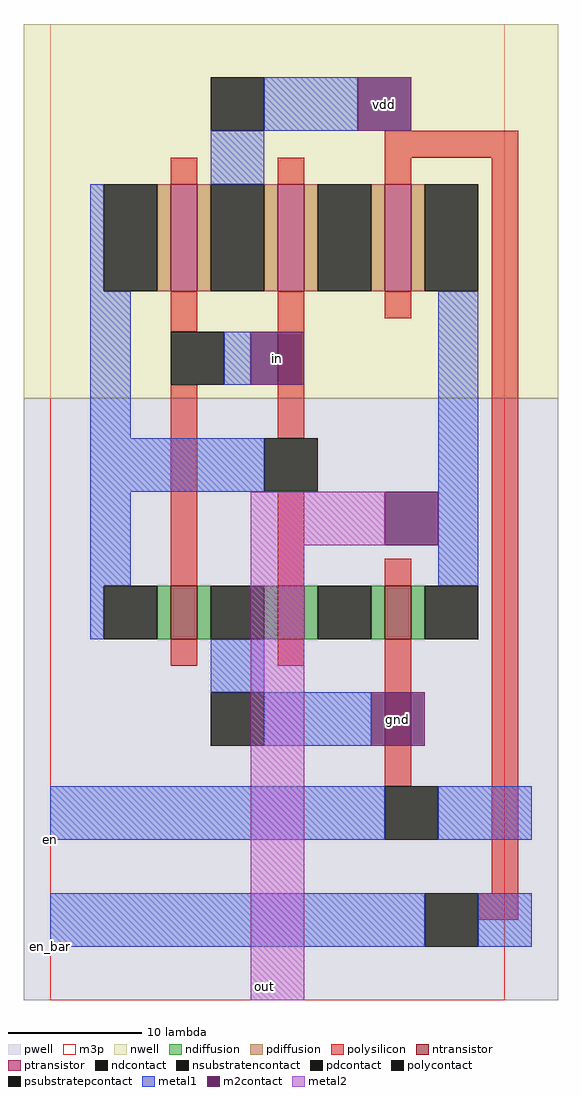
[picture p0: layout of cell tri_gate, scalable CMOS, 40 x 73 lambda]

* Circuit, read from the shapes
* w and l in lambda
.subckt tri_gate en en_bar gnd in out vdd
M1 gnd in n1 gnd nfet w=4 l=2
M2 n2 n1 gnd gnd nfet w=4 l=2
M3 out en n2 gnd nfet w=4 l=2
M4 vdd in n1 vdd pfet w=8 l=2
M5 n3 n1 vdd vdd pfet w=8 l=2
M6 out en_bar n3 vdd pfet w=8 l=2
.ends

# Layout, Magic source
magic
tech scmos
<< nwell >>
rect -2 45 38 73
<< pwell >>
rect -2 0 38 45
<< ntransistor >>
rect 9 27 11 31
rect 17 27 19 31
rect 25 27 27 31
<< ptransistor >>
rect 9 53 11 61
rect 17 53 19 61
rect 25 53 27 61
<< ndiffusion >>
rect 8 27 9 31
rect 11 27 12 31
rect 16 27 17 31
rect 19 27 20 31
rect 24 27 25 31
rect 27 27 28 31
<< pdiffusion >>
rect 8 53 9 61
rect 11 53 12 61
rect 16 53 17 61
rect 19 53 20 61
rect 24 53 25 61
rect 27 53 28 61
<< ndcontact >>
rect 4 27 8 31
rect 12 27 16 31
rect 20 27 24 31
rect 28 27 32 31
<< pdcontact >>
rect 4 53 8 61
rect 12 53 16 61
rect 20 53 24 61
rect 28 53 32 61
<< psubstratepcontact >>
rect 12 19 16 23
<< nsubstratencontact >>
rect 12 65 16 69
<< polysilicon >>
rect 25 63 35 65
rect 9 61 11 63
rect 17 61 19 63
rect 25 61 27 63
rect 9 50 11 53
rect 9 31 11 46
rect 17 42 19 53
rect 25 51 27 53
rect 17 31 19 38
rect 25 31 27 33
rect 9 25 11 27
rect 17 25 19 27
rect 25 16 27 27
rect 33 8 35 63
rect 32 6 35 8
<< polycontact >>
rect 9 46 13 50
rect 16 38 20 42
rect 25 12 29 16
rect 28 4 32 8
<< metal1 >>
rect 16 65 23 69
rect 12 61 16 65
rect 3 53 4 61
rect 3 42 6 53
rect 13 46 15 50
rect 3 38 16 42
rect 3 31 6 38
rect 29 31 32 53
rect 3 27 4 31
rect 12 23 16 27
rect 16 19 24 23
rect 0 12 25 16
rect 29 12 36 16
rect 0 4 28 8
rect 32 4 36 8
<< m2contact >>
rect 23 65 27 69
rect 15 46 19 50
rect 25 34 29 38
rect 24 19 28 23
<< metal2 >>
rect 15 34 25 38
rect 15 0 19 34
<< m3p >>
rect 0 0 34 73
<< labels >>
rlabel metal1 0 12 0 12 3 en
rlabel metal1 0 4 0 4 2 en_bar
rlabel metal2 16 1 16 1 1 out
rlabel m2contact 26 21 26 21 1 gnd
rlabel m2contact 25 67 25 67 1 vdd
rlabel m2contact 17 48 17 48 1 in
<< end >>
